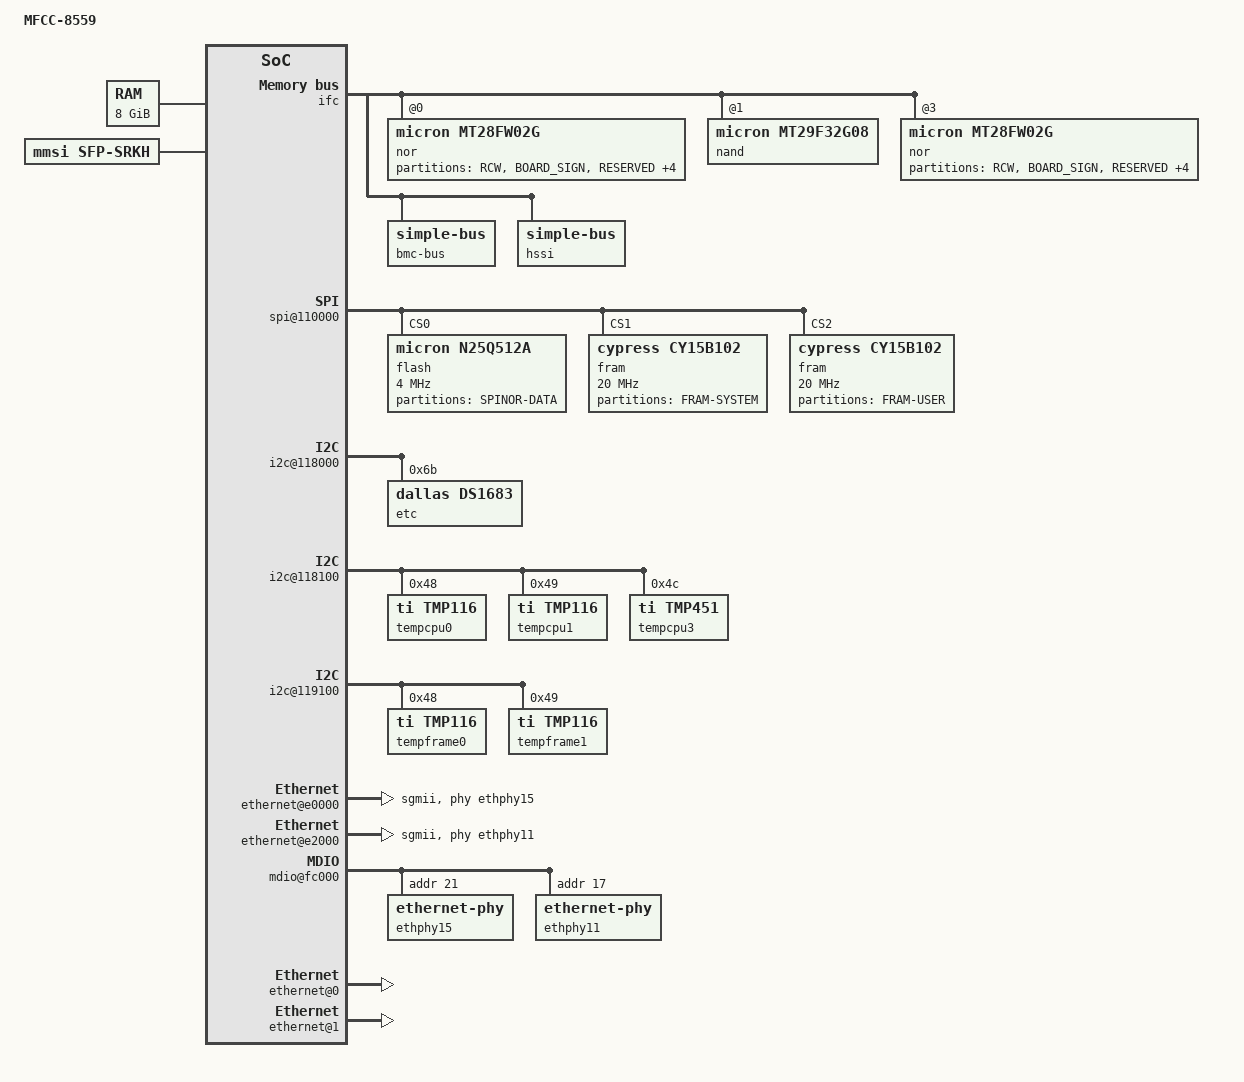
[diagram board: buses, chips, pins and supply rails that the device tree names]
/include/ "t208xsi-pre.dtsi"
/include/ "mfcc-855x-pre.dtsi"

/ {
	model = "MFCC-8559";
	compatible = "mfcc_8559", "mmsi,MFCC-8559";
	#address-cells = <2>;
	#size-cells = <2>;
	interrupt-parent = <&mpic>;

	chosen {
		bootargs = "console=ttyS0,115200";
	};

	/* 8 Gbytes DDR */
	memory {
		reg = <0x0 0x0 0x2 0x0>;
	};
};

&ifc {
	/*        CS#   child          size */
	ranges = <
		/* NOR 256 MB */
		0 0 2 0xf0000000 0x10000000
		/* nand 4 GB */
		1 0 2 0x60000000 0x10000
		/* NOR 256 MB */
		3 0 2 0xb0000000 0x10000000
		/* BMC FPGA */
		4 0 2 0x70000000 0x1000000>;

	/* 256 MB NOR flash */
	nor@0,0 {
		compatible = "micron,mt28fw02g", "cfi-flash";
		bank-width = <2>;
		reg = <0 0 0x10000000>;
		#address-cells = <1>;
		#size-cells = <1>;

		partition@0 {
			reg = <0 0x100000>;
			label = "RCW";
		};
		partition@100000 {
			reg = <0x100000 0x80000>;
			label = "BOARD_SIGN";
		};
		partition@200000 {
			reg = <0x180000 0x200000>;
			label = "RESERVED";
		};
		partition@380000 {
			reg = <0x380000 0x40000>;
			label = "IMGT";
		};
		partition@3c0000 {
			reg = <0x3c0000 0x40000>;
			label = "VPKT";
		};
		partition@400000 {
			reg = <0x400000 0xf700000>;
			label = "USER";
		};
		partition@fb00000 {
			reg = <0xfb00000 0x500000>;
			label = "PPCMON";
		};
	};

	/* 4GB NAND */
	nand@1,0 {
		#address-cells = <1>;
		#size-cells = <1>;
		compatible = "micron,mt29f32g08", "fsl,ifc-nand";
		reg = <0x1 0x0 0x10000>;
	};

	/* 256 MB NOR flash */
	nor@3,0 {
		compatible = "micron,mt28fw02g", "cfi-flash";
		bank-width = <2>;
		reg = <3 0 0x10000000>;
		#address-cells = <1>;
		#size-cells = <1>;

		partition@0 {
			reg = <0 0x100000>;
			label = "RCW";
		};
		partition@100000 {
			reg = <0x100000 0x80000>;
			label = "BOARD_SIGN";
		};
		partition@200000 {
			reg = <0x180000 0x200000>;
			label = "RESERVED";
		};
		partition@380000 {
			reg = <0x380000 0x40000>;
			label = "IMGT";
		};
		partition@3c0000 {
			reg = <0x3c0000 0x40000>;
			label = "VPKT";
		};
		partition@400000 {
			reg = <0x400000 0xf700000>;
			label = "USER";
		};
		partition@fb00000 {
			reg = <0xfb00000 0x500000>;
			label = "PPCMON";
		};
	};

	bmc-bus@4,0 {
		compatible = "simple-bus";
		#address-cells = <1>;
		#size-cells = <1>;

		ranges = <0 4 0x0 0x90000>;

		bmc@0 {
			compatible = "mmsi,ifc-bmc";
			reg = <0x0000 0x2100 /* ctrl reg */
			       0x7000 0x100  /* timer reg */
			       0x9000 0x8>;  /* irq */
		};

		/* uart connected to the spectratime module */
		serial4: serial@20000 {
			compatible = "mmsi,axi-rsl";
			reg = <0x20000 0x20>;
			no-transceiver;
		};

		/* watchdog with fixed timeout started by hw */
		hw_wdog@4000 {
			compatible = "mmsi,ifc-wdog";
			reg = <0x4000 0x18>;
			hw-wdog = <1>;
		};

		prog_wdog@5000 {
			compatible = "mmsi,ifc-wdog";
			reg = <0x5000 0x18>;
			timeout-secs = <60>;
		};

		gpio@8000 {
			compatible = "mmsi,ifc-gpio";
			reg = <0x8000 0x1c>;
		};
	};

	hssi@4,400000 {
		compatible = "simple-bus";
		#address-cells = <1>;
		#size-cells = <1>;

		ranges = <0 4 0x400000 0x70000>;

		hssi-ctrl@0 {
			compatible = "mmsi,hssi-ctrl";
			reg = <0x00000 0x108  /* config */
			       0x00400 0x34   /* hssi slave */
			       0x00c00 0x2c>; /* hssi master */
		};

		serial5: serial@10000 {
			compatible = "mmsi,axi-rsl";
			reg = <0x10000 0x50>;
		};
		serial6: serial@20000 {
			compatible = "mmsi,axi-rsl";
			reg = <0x20000 0x50>;
		};
		serial7: serial@30000 {
			compatible = "mmsi,axi-rsl";
			reg = <0x30000 0x50>;
		};
		serial8: serial@40000 {
			compatible = "mmsi,axi-rsl";
			reg = <0x40000 0x50>;
		};
	};
};

&soc {
	clock-frequency = "600000000";

	sfp-srkh {
		compatible = "mmsi,sfp-srkh";
	};

	spi@110000 {
		flash@0 {
			/* Flash of 64 MBytes */
			reg = <0>;
			compatible = "micron,n25q512a", "jedec,spi-nor";
			spi-max-frequency = <4000000>;
			m25p,fast-read;

			#address-cells = <1>;
			#size-cells = <1>;

			partition@0 {
				reg = <0 0x4000000>;
				label = "SPINOR-DATA";
			};
		};
		fram@1 {
			/* 256KB FRAM */
			compatible = "cypress,cy15b102", "jedec,spi-nor";
			reg = <1>; /* SPI chip select */
			spi-max-frequency = <20000000>;

			#address-cells = <1>;
			#size-cells = <1>;

			partition@0 {
				reg = <0 0x40000>;
				label = "FRAM-SYSTEM";
			};
		};
		fram@2 {
			/* F-RAM of 256 kBytes */
			compatible = "cypress,cy15b102", "jedec,spi-nor";
			reg = <2>; /* SPI chip select */
			spi-max-frequency = <20000000>;

			#address-cells = <1>;
			#size-cells = <1>;

			partition@0 {
				reg = <0 0x40000>;
				label = "FRAM-USER";
			};
		};
	};

	i2c@118000 { /* i2c0 */
		etc@6b {
			compatible = "dallas,ds1683";
			reg = <0x6b>;
		};
	};

	i2c@118100 { /* i2c1 */
		tempcpu0@48 {
			compatible = "ti,tmp116";
			reg = <0x48>;
		};
		tempcpu1@49 {
			compatible = "ti,tmp116";
			reg = <0x49>;
		};
		tempcpu3@4c {
			compatible = "ti,tmp451";
			reg = <0x4c>;
		};
	};

	i2c@119000 { /* i2c2 */
	};

	i2c@119100 { /* i2c3 */
		tempframe0@48 {
			compatible = "ti,tmp116";
			reg = <0x48>;
		};
		tempframe1@49 {
			compatible = "ti,tmp116";
			reg = <0x49>;
		};
	};

	/* Feature disabled by hardware fuse */
	crypto@300000 {
		status = "disabled";
	};

	fman@400000 {
		ethernet@e0000 {
			phy-handle = <&ethphy15>;
			phy-connection-type = "sgmii";
			status = "okay";
		};
		ethernet@e2000 {
			phy-handle = <&ethphy11>;
			phy-connection-type = "sgmii";
			status = "okay";
		};
		ethernet@e4000 {
			status = "disabled";
		};
		ethernet@e6000 {
			status = "disabled";
		};
		ethernet@e8000 {
			status = "disabled";
		};
		ethernet@ea000 {
			status = "disabled";
		};
		ethernet@f0000 {
			status = "disabled";
		};
		ethernet@f2000 {
			status = "disabled";
		};

		mdio@fc000 {
			clk-div = <0x78>; /* set MDIO_CLK_DIV */

			ethphy15: ethernet-phy@15 {
				reg = <0x15>;
			};
			ethphy11: ethernet-phy@11 {
				reg = <0x11>;
			};
		};
	};
};

/include/ "t2080si-post.dtsi"
/include/ "mfcc-855x-post.dtsi"

&serial0 {
	clock-frequency = <300000000>;
};

&serial1 {
	clock-frequency = <300000000>;
};

&serial2 {
	clock-frequency = <300000000>;
};

&serial3 {
	clock-frequency = <300000000>;
};

&cpu0 {
      clock-frequency = <1800000000>;
      timebase-frequency = <37500000>;
};

&cpu1 {
      clock-frequency = <1800000000>;
      timebase-frequency = <37500000>;
};

&cpu2 {
      clock-frequency = <1800000000>;
      timebase-frequency = <37500000>;
};

&cpu3 {
      clock-frequency = <1800000000>;
      timebase-frequency = <37500000>;
};

&sdhc {
      clock-frequency = <300000000>;
};

&soc {
	fsldpaa: fsl,dpaa {
		compatible = "simple-bus", "fsl,dpaa";
		ethernet@0 {
			compatible = "fsl,dpa-ethernet";
			fsl,fman-mac = <&enet0>;
		};
		ethernet@1 {
			compatible = "fsl,dpa-ethernet";
			fsl,fman-mac = <&enet1>;
		};
	};
};
